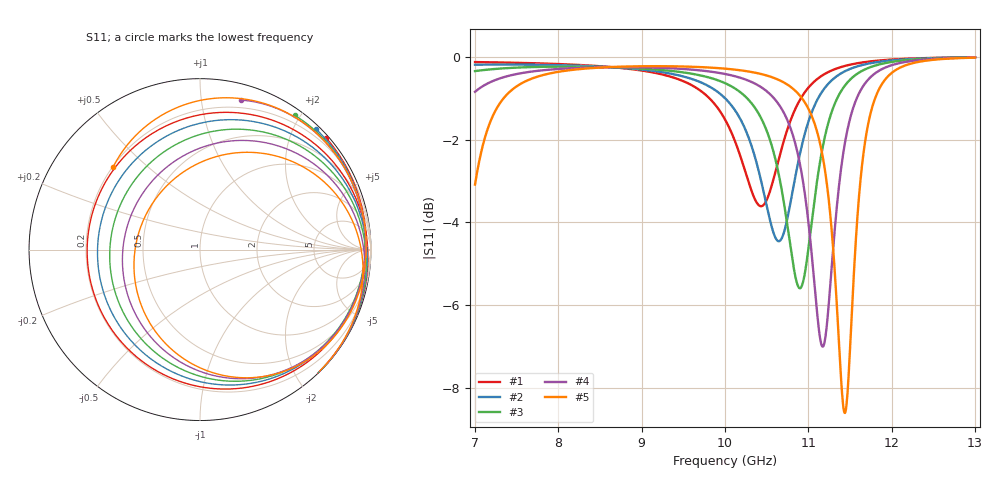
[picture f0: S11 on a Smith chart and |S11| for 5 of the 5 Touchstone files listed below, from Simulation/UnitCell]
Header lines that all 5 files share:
! TOUCHSTONE file generated by CST MICROWAVE STUDIO
! Project name: unit_cell_optimization_L=10.0_Wgap=1.0_Wline=1.42.cst
! Header version: 2024
! Port assignment regex: !\s*Touchstone port\s*([0-9]+)\s*=\s*(CST MWS port|CST DES external port|CST DES block port)\s*(.+)\s* \(\"(.*)\"\)(\s*mode\s*([0-9]+))?.*
! Touchstone port assignment:
! Touchstone port 1 = CST MWS port Zmax ("") mode 1
! S-Parameters are not renormalized. Unphysical impedance of 50 will be written to the file.
# GHz S RI R 50
Fixed: B = 0.025494, C0 = 2.097, Cp = 0.075, L = 10, L1 = 0.3, L_back = 16.1559, Lp = 0.35, Lpad = 0.75, M = 1.199, R = 5.41, R_cav = 0.5, R_sogl = 4.36377, Vj = 2.984, W = 10, W1 = -0.15, W2 = -0.15, Wcoop = 3.29, Wgap = 1, Wline = 1.42, Wpad = 0.475, Wpadgap = 0.35, Xpad1 = 1.6225, Xpad2 = 0.7975, Xpad3 = 1.6225, Xpad4 = 0.7975, Xvar_centre = 1.21, angle_sogl = 144.599, f = 0.01, f0 = 11, fmax = 11.25, fmin = 10.75, h = 0.8, phase = 0, phi = 0, sogl_proc = 0.641844, th = 0.035, theta = 0
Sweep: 7 GHz to 13 GHz
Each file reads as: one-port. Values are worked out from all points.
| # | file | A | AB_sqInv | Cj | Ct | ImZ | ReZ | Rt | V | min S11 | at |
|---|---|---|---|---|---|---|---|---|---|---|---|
| 1 | 0.01.s1p | 1.03591 | 0.931309 | 2.0886 | 2.12774 | -7.48 | 5.03838 | 5.03838 | 0.01 | -3.6 dB | 10.43 GHz |
| 2 | 5.s1p | 1.1164 | 0.80193 | 0.644347 | 0.71614 | -22.224 | 4.33844 | 4.33844 | 5 | -4.5 dB | 10.65 GHz |
| 3 | 10.s1p | 1.20852 | 0.684378 | 0.359671 | 0.433746 | -36.6931 | 3.70249 | 3.70249 | 10 | -5.6 dB | 10.9 GHz |
| 4 | 15.s1p | 1.30817 | 0.584128 | 0.243374 | 0.317982 | -50.0516 | 3.16013 | 3.16013 | 15 | -7.0 dB | 11.17 GHz |
| 5 | 19.8.s1p | 1.40924 | 0.503371 | 0.183267 | 0.258061 | -61.6735 | 2.72324 | 2.72324 | 19.8 | -8.6 dB | 11.44 GHz |
